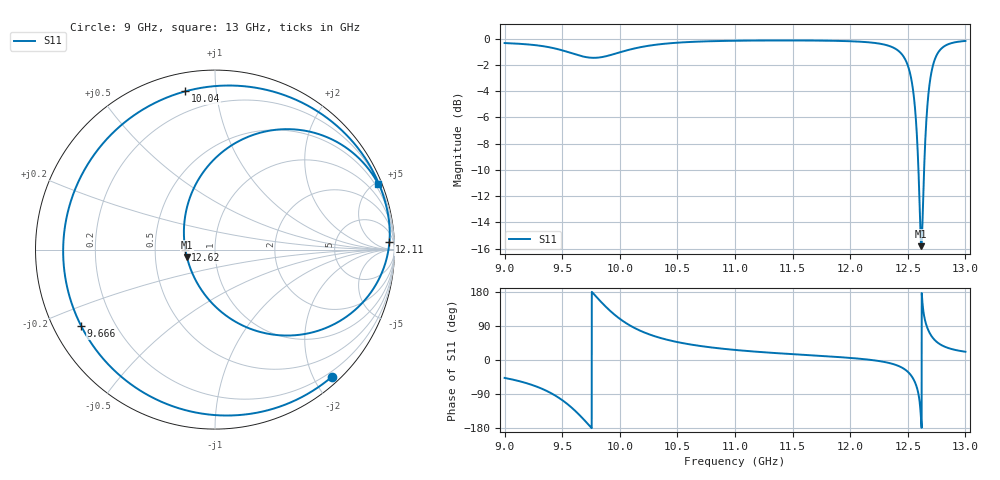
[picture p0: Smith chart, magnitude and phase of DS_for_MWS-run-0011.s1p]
! TOUCHSTONE file generated by CST DESIGN STUDIO
! Date and time: Tue Feb  4 13:25:55 2025
! Project name: C:\Work\MatlabApps\UnitCellOptimizationMatlab\CST\unitcell.cst
! Tree item: Tasks\Sweep1\SPara1\S-Parameters
! Header version: 2024
! Port assignment regex: !\s*Touchstone port\s*([0-9]+)\s*=\s*(CST MWS port|CST DES external port|CST DES block port)\s*(.+)\s* \(\"(.*)\"\)(\s*mode\s*([0-9]+))?.*
! Touchstone port assignment:
! Touchstone port 1 = CST DES external port 1 ("")
# GHz S MA R 50
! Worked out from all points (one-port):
!   4001 points, 9 GHz to 13 GHz, reference 50 ohm
!   lowest |S11| = -15.8 dB at 12.62 GHz (marker M1), VSWR 1.39, Z = 36.4 - j3.25 ohm
!   |S11| at or under -10 dB: 12.59259 GHz to 12.64143 GHz (48.84 MHz wide, 0.387 % of centre)
!   S11 on the Smith chart (normalised r, x): 9 GHz: 0.12, -2.28; 9.666 GHz: 0.08, -0.26; 10.04 GHz: 0.09, +0.83; 12.11 GHz: 22, +33; 12.62 GHz: 0.72, -0.00; 13 GHz: 0.27, +5.18
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9  0.9627 -47.3
9.272  0.9445 -69.5
9.5  0.9031 -105.8
9.584  0.8801 -126.2
9.666  0.8587 -150.2
9.739  0.8471 -174.1
9.809  0.847 162.5
9.906  0.8632 132.5
10  0.8874 108.7
10.038  0.8973 100.6
10.249  0.94 68.4
10.5  0.9657 47.3
11  0.9823 26.6
11.5  0.9847 15.4
12  0.9781 5.5
12.114  0.9725 2.4
12.379  0.9227 -11.3
12.5  0.791 -31.1
12.568  0.5085 -63.0
12.592  0.3213 -88.9
12.617  0.1621 -164.5
12.62  0.1647 -178.8
12.64  0.3032 119.2
12.664  0.5112 89.6
12.706  0.7487 63.1
12.752  0.8683 47.6
12.809  0.9309 36.7
13  0.9805 21.8
